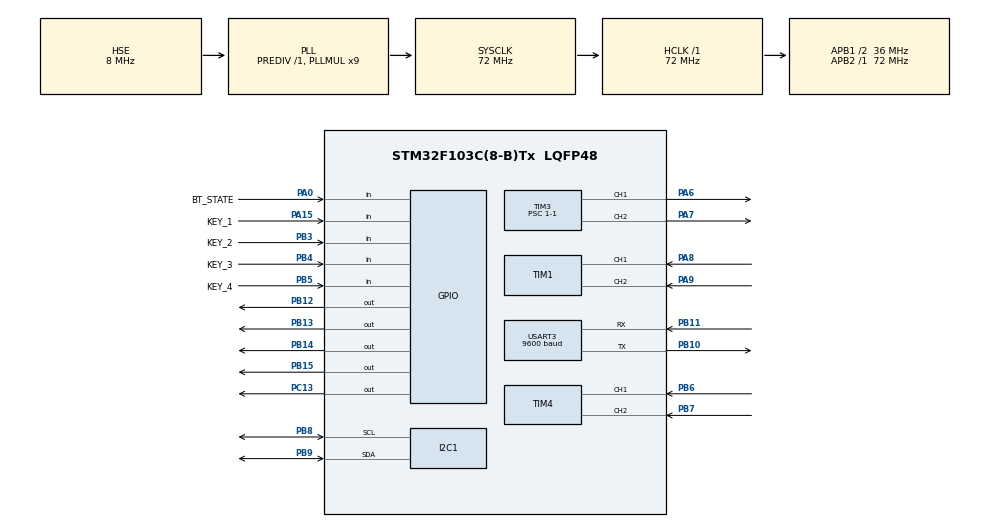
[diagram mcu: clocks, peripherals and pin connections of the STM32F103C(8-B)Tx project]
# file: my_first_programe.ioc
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Dma.Request0=USART3_TX
Dma.USART3_TX.0.Direction=DMA_MEMORY_TO_PERIPH
Dma.USART3_TX.0.Instance=DMA1_Channel2
Dma.USART3_TX.0.MemDataAlignment=DMA_MDATAALIGN_BYTE
Dma.USART3_TX.0.MemInc=DMA_MINC_ENABLE
Dma.USART3_TX.0.Mode=DMA_NORMAL
Dma.USART3_TX.0.PeriphDataAlignment=DMA_PDATAALIGN_BYTE
Dma.USART3_TX.0.PeriphInc=DMA_PINC_DISABLE
Dma.USART3_TX.0.Priority=DMA_PRIORITY_LOW
FREERTOS.Tasks01=defaultTask,24,512,StartDefaultTask,Default,NULL,Dynamic,NULL,NULL;TEST,24,256,StartTask02,Default,NULL,Dynamic,NULL,NULL
FREERTOS.configTOTAL_HEAP_SIZE=6144
I2C1.I2C_Mode=I2C_Fast
Mcu.Family=STM32F1
Mcu.Name=STM32F103C(8-B)Tx
Mcu.Package=LQFP48
NVIC.DMA1_Channel2_IRQn=true\:5\:0\:false\:false\:true\:true\:false\:true\:true
NVIC.PriorityGroup=NVIC_PRIORITYGROUP_4
NVIC.TIM2_IRQn=true\:15\:0\:false\:false\:true\:false\:false\:true\:true
NVIC.TimeBase=TIM2_IRQn
NVIC.TimeBaseIP=TIM2
NVIC.USART3_IRQn=true\:5\:0\:false\:false\:true\:true\:true\:true\:true
PA0-WKUP.GPIO_Label=BT_STATE
PA0-WKUP.GPIO_PuPd=GPIO_PULLDOWN
PA0-WKUP.Signal=GPIO_Input
PA13.Mode=Serial_Wire
PA13.Signal=SYS_JTMS-SWDIO
PA14.Mode=Serial_Wire
PA14.Signal=SYS_JTCK-SWCLK
PA15.GPIO_Label=KEY_1
PA15.GPIO_PuPd=GPIO_PULLUP
PA15.Signal=GPIO_Input
PA6.Signal=S_TIM3_CH1
PA7.Signal=S_TIM3_CH2
PA8.GPIO_PuPd=GPIO_PULLUP
PA8.Signal=S_TIM1_CH1
PA9.GPIO_PuPd=GPIO_PULLUP
PA9.Signal=S_TIM1_CH2
PB10.Mode=Asynchronous
PB10.Signal=USART3_TX
PB11.Mode=Asynchronous
PB11.Signal=USART3_RX
PB12.Signal=GPIO_Output
PB13.Signal=GPIO_Output
PB14.Signal=GPIO_Output
PB15.Signal=GPIO_Output
PB3.GPIO_Label=KEY_2
PB3.GPIO_PuPd=GPIO_PULLUP
PB3.Signal=GPIO_Input
PB4.GPIO_Label=KEY_3
PB4.GPIO_PuPd=GPIO_PULLUP
PB4.Signal=GPIO_Input
PB5.GPIO_Label=KEY_4
PB5.GPIO_PuPd=GPIO_PULLUP
PB5.Signal=GPIO_Input
PB6.GPIO_PuPd=GPIO_PULLUP
PB6.Signal=S_TIM4_CH1
PB7.GPIO_PuPd=GPIO_PULLUP
PB7.Signal=S_TIM4_CH2
PB8.Mode=I2C
PB8.Signal=I2C1_SCL
PB9.Mode=I2C
PB9.Signal=I2C1_SDA
PC13-TAMPER-RTC.PinState=GPIO_PIN_SET
PC13-TAMPER-RTC.Signal=GPIO_Output
PD0-OSC_IN.Mode=HSE-External-Oscillator
PD0-OSC_IN.Signal=RCC_OSC_IN
PD1-OSC_OUT.Mode=HSE-External-Oscillator
PD1-OSC_OUT.Signal=RCC_OSC_OUT
ProjectManager.HeapSize=0x200
ProjectManager.StackSize=0x400
ProjectManager.TargetToolchain=CMake
RCC.AHBFreq_Value=72000000
RCC.APB1CLKDivider=RCC_HCLK_DIV2
RCC.APB1Freq_Value=36000000
RCC.APB1TimFreq_Value=72000000
RCC.APB2Freq_Value=72000000
RCC.APB2TimFreq_Value=72000000
RCC.HCLKFreq_Value=72000000
RCC.PLLMUL=RCC_PLL_MUL9
RCC.PLLSourceVirtual=RCC_PLLSOURCE_HSE
RCC.SYSCLKFreq_VALUE=72000000
RCC.SYSCLKSource=RCC_SYSCLKSOURCE_PLLCLK
RCC.USBFreq_Value=72000000
SH.S_TIM1_CH1.0=TIM1_CH1,Encoder_Interface
SH.S_TIM1_CH2.0=TIM1_CH2,Encoder_Interface
SH.S_TIM3_CH1.0=TIM3_CH1,PWM Generation1 CH1
SH.S_TIM3_CH2.0=TIM3_CH2,PWM Generation2 CH2
SH.S_TIM4_CH1.0=TIM4_CH1,Encoder_Interface
SH.S_TIM4_CH2.0=TIM4_CH2,Encoder_Interface
TIM1.EncoderMode=TIM_ENCODERMODE_TI12
TIM1.IC1Filter=10
TIM1.IC2Filter=10
TIM3.Channel-PWM\ Generation1\ CH1=TIM_CHANNEL_1
TIM3.Channel-PWM\ Generation2\ CH2=TIM_CHANNEL_2
TIM3.Period=7200-1
TIM3.Prescaler=1-1
TIM4.EncoderMode=TIM_ENCODERMODE_TI12
TIM4.IC1Filter=10
USART3.BaudRate=9600
USART3.VirtualMode=VM_ASYNC
VP_FREERTOS_VS_CMSIS_V2.Mode=CMSIS_V2
VP_SYS_VS_tim2.Mode=TIM2
board=custom

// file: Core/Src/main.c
/* USER CODE BEGIN Header */
/**
  ******************************************************************************
  * @file           : main.c
  * @brief          : Main program body
  ******************************************************************************
  * @attention
  *
  * Copyright (c) 2026 STMicroelectronics.
  * All rights reserved.
  *
  * This software is licensed under terms that can be found in the LICENSE file
  * in the root directory of this software component.
  * If no LICENSE file comes with this software, it is provided AS-IS.
  *
  ******************************************************************************
  */
/* USER CODE END Header */
#include "main.h"
#include "cmsis_os.h"
#include "dma.h"
#include "i2c.h"
#include "tim.h"
#include "usart.h"
#include "gpio.h"

/* USER CODE BEGIN Includes */
#include "motor.h"
/* USER CODE END Includes */

void SystemClock_Config(void);
void MX_FREERTOS_Init(void);

int main(void)
{

  /* MCU Configuration--------------------------------------------------------*/

  /* Reset of all peripherals, Initializes the Flash interface and the Systick. */
  HAL_Init();

  /* Configure the system clock */
  SystemClock_Config();

  /* Initialize all configured peripherals */
  MX_GPIO_Init();
  MX_DMA_Init();
  MX_TIM3_Init();
  MX_USART3_UART_Init();
  MX_TIM1_Init();
  MX_I2C1_Init();
  MX_TIM4_Init();

  /* Init scheduler */
  osKernelInitialize();  /* Call init function for freertos objects (in cmsis_os2.c) */
  MX_FREERTOS_Init();

  /* Start scheduler */
  osKernelStart();

  /* We should never get here as control is now taken by the scheduler */

  /* Infinite loop */
  while (1)
  {

  }
}

void SystemClock_Config(void)
{
  RCC_OscInitTypeDef RCC_OscInitStruct = {0};
  RCC_ClkInitTypeDef RCC_ClkInitStruct = {0};

  /** Initializes the RCC Oscillators according to the specified parameters
  * in the RCC_OscInitTypeDef structure.
  */
  RCC_OscInitStruct.OscillatorType = RCC_OSCILLATORTYPE_HSE;
  RCC_OscInitStruct.HSEState = RCC_HSE_ON;
  RCC_OscInitStruct.HSEPredivValue = RCC_HSE_PREDIV_DIV1;
  RCC_OscInitStruct.HSIState = RCC_HSI_ON;
  RCC_OscInitStruct.PLL.PLLState = RCC_PLL_ON;
  RCC_OscInitStruct.PLL.PLLSource = RCC_PLLSOURCE_HSE;
  RCC_OscInitStruct.PLL.PLLMUL = RCC_PLL_MUL9;
  if (HAL_RCC_OscConfig(&RCC_OscInitStruct) != HAL_OK)
  {
    Error_Handler();
  }

  /** Initializes the CPU, AHB and APB buses clocks
  */
  RCC_ClkInitStruct.ClockType = RCC_CLOCKTYPE_HCLK|RCC_CLOCKTYPE_SYSCLK
                              |RCC_CLOCKTYPE_PCLK1|RCC_CLOCKTYPE_PCLK2;
  RCC_ClkInitStruct.SYSCLKSource = RCC_SYSCLKSOURCE_PLLCLK;
  RCC_ClkInitStruct.AHBCLKDivider = RCC_SYSCLK_DIV1;
  RCC_ClkInitStruct.APB1CLKDivider = RCC_HCLK_DIV2;
  RCC_ClkInitStruct.APB2CLKDivider = RCC_HCLK_DIV1;

  if (HAL_RCC_ClockConfig(&RCC_ClkInitStruct, FLASH_LATENCY_2) != HAL_OK)
  {
    Error_Handler();
  }
}

void HAL_TIM_PeriodElapsedCallback(TIM_HandleTypeDef *htim)
{
  if (htim->Instance == TIM2)
  {
    HAL_IncTick();
  }
}

void Error_Handler(void)
{
  __disable_irq();
  while (1)
  {
  }
}

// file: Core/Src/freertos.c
/* USER CODE BEGIN Header */
/**
  ******************************************************************************
  * File Name          : freertos.c
  * Description        : Code for freertos applications
  ******************************************************************************
  * @attention
  *
  * Copyright (c) 2026 STMicroelectronics.
  * All rights reserved.
  *
  * This software is licensed under terms that can be found in the LICENSE file
  * in the root directory of this software component.
  * If no LICENSE file comes with this software, it is provided AS-IS.
  *
  ******************************************************************************
  */
/* USER CODE END Header */

#include "FreeRTOS.h"
#include "task.h"
#include "main.h"
#include "cmsis_os.h"

/* USER CODE BEGIN Includes */
#include "usart.h"
#include "motor.h"
#include "oled.h"
#include "menu.h"
#include <stdio.h>
#include <string.h>
#include "encoder.h"
#include "pid.h"
#include "bt_ctrl.h"
#include "sync.h"
#include "imu.h"
#include "heading.h"

uint8_t g_imu_status;
int16_t g_imu_gz = 0;      /* 陀螺 Z 轴原始值，给 OLED 显示 */
volatile uint8_t g_car_stopped = 0;

/* USER CODE END Includes */

/* USER CODE BEGIN Variables */
volatile uint32_t test_cnt= 0;
uint8_t g_bt_rx_byte;
static volatile uint8_t telem_tx_busy = 0;   /* 遥测中断发送占用标志 */
static uint32_t telem_tx_t0 = 0;             /* 本次发送启动时刻 */
/* USER CODE END Variables */
/* Definitions for defaultTask */
osThreadId_t defaultTaskHandle;
const osThreadAttr_t defaultTask_attributes = {
  .name = "defaultTask",
  .stack_size = 512 * 4,
  .priority = (osPriority_t) osPriorityNormal,
};
/* Definitions for TEST */
osThreadId_t TESTHandle;
const osThreadAttr_t TEST_attributes = {
  .name = "TEST",
  .stack_size = 256 * 4,
  .priority = (osPriority_t) osPriorityNormal,
};

void StartDefaultTask(void *argument);
void StartTask02(void *argument);

void MX_FREERTOS_Init(void); /* (MISRA C 2004 rule 8.1) */

void MX_FREERTOS_Init(void) {

  /* Create the thread(s) */
  /* creation of defaultTask */
  defaultTaskHandle = osThreadNew(StartDefaultTask, NULL, &defaultTask_attributes);

  /* creation of TEST */
  TESTHandle = osThreadNew(StartTask02, NULL, &TEST_attributes);

}

/* USER CODE BEGIN Header_StartDefaultTask */
/**0
/* USER CODE END Header_StartDefaultTask */
void StartDefaultTask(void *argument)
{
  /* USER CODE BEGIN StartDefaultTask */

	motor_init();
	encoder_init();
  motor_stop();
  bt_init();
  heading_init();
  HAL_UART_Receive_IT(&huart3, &g_bt_rx_byte, 1);

  pid_t pid_l, pid_r;

  pid_init(&pid_l, 3.0f, 0.8f, 0.03f, -7200.0f, 7200.0f);
  pid_init(&pid_r, 5.0f, 0.9f, 0.03f, -7200.0f, 7200.0f);
  pid_set_integral_limit(&pid_l, -6000.0f, 6000.0f);
  pid_set_integral_limit(&pid_r, -6000.0f, 6000.0f);

  uint32_t next = osKernelGetTickCount();

  uint8_t stopped_cnt = 0;   /* 连续静止拍数 */

  static char telem_buf[80];
  static uint32_t telem_div = 0;

  for(;;)
  {
    pid_l.kp = g_params[0];
    pid_l.ki = g_params[1];
    pid_l.kd = g_params[2];

    pid_r.kp = g_params[0];
    pid_r.ki = g_params[1];
    pid_r.kd = g_params[2];

    uint32_t now_ms = HAL_GetTick();
    bt_tick(now_ms);

    int16_t  yaw_target;
    uint8_t  have_yaw   = bt_take_yaw(&yaw_target);
    uint8_t  have_drive = bt_take_drive();

    if (have_yaw)
    {
      if(g_imu_status == 0x00)
      {
         heading_start(yaw_target, now_ms);
      }
      else
        heading_cancel();
    }
    else if (have_drive)
    {
    heading_cancel();
    }

    if (bt_link_ok() == 0u)
    {
    heading_cancel();
    }

    heading_update(g_imu_yaw, g_imu_yaw_dps, now_ms);
    float tl;
    float tr;
    if (heading_active())
    {
    tl = (float)heading_left_rpm();
    tr = (float)heading_right_rpm();
    }
    else
    {
    tl = (float)bt_get_left_rpm();
    tr = (float)bt_get_right_rpm();
    }
    float meas_l = encoder_rpm_left();
    float meas_r = encoder_rpm_right();

    float target_l, target_r;
    sync_correct(tl, tr, meas_l, meas_r, &target_l, &target_r);

    uint8_t stopped_now =
    (target_l == 0.0f && target_r == 0.0f &&
     meas_l > -2.0f && meas_l < 2.0f &&
     meas_r > -2.0f && meas_r < 2.0f) ? 1u : 0u; //停止记一次标志

    if (stopped_now)
    {
      if (stopped_cnt < 10u) stopped_cnt++;
    }
    else
    {
      stopped_cnt = 0u;
    }

    g_car_stopped = (stopped_cnt >= 10u) ? 1u : 0u; //总200 ms判停

    float duty_l = pid_calc(&pid_l, target_l, meas_l);
    float duty_r = pid_calc(&pid_r, target_r, meas_r);

    motor_set((int16_t)duty_l, (int16_t)duty_r);

    /* 发送完成回调没回来时兜底：超过 200 ms 就中止，避免遥测永久卡死 */
    if (telem_tx_busy &&
        (uint32_t)(HAL_GetTick() - telem_tx_t0) > 200u)
    {
      HAL_UART_AbortTransmit(&huart3);
      telem_tx_busy = 0;
    }

    /* 遥测：5 Hz 发送。*/
    if (++telem_div >= 10)          /* 20 ms × 10 = 200 ms，给 21 ms 的传输留足时间 */
    {
      telem_div = 0;
      int sign_code = ((HEADING_OUTPUT_SIGN > 0.0f) ? 2 : 0)
                    | ((IMU_YAW_SIGN          > 0.0f) ? 1 : 0);
       if (!telem_tx_busy)
        {
        int n = snprintf(telem_buf, sizeof(telem_buf), "%d,%d,%d,%d,%d,%d,%d,%d,%d,%d\n",
                       (int)(target_l * 10.0f),
                       (int)(target_r * 10.0f),
                       (int)(meas_l * 10.0f),
                       (int)(meas_r * 10.0f),
                       (int)g_imu_yaw,          /* 真实航向角（-180~180） */
                       (int)duty_l,             /* PID 输出，调试用 */
                       (int)duty_r,
                       (int)heading_target_deg(), /* 航向目标角 */
                       (int)heading_state(),     /* 0=IDLE 1=TURN 2=HOLD 3=TIMEOUT */
                       sign_code);                /* bit1=OUTPUT正, bit0=IMU正 */
          telem_tx_busy = 1;
          telem_tx_t0 = HAL_GetTick();
          if (HAL_UART_Transmit_IT(&huart3, (uint8_t *)telem_buf, (uint16_t)n) != HAL_OK)
          {
            telem_tx_busy = 0;
          }
        }
    }

    next += 20;
    osDelayUntil(next);//相隔绝对20ms
	}
  /* USER CODE END StartDefaultTask */
}

void StartTask02(void *argument)
{
  /* USER CODE BEGIN StartTask02 */
  key_init();
  osDelay(50);            /* 等 OLED 上电稳定 */
  OLED_Init();
  menu_init();
  g_imu_status = imu_init();
    if (g_imu_status == 0x00)
  {
    if (imu_calibrate() != 0)
    g_imu_status = 0xFB;
  }
  static uint32_t last_ui = 0;

  static uint32_t  s_imu_tick = 0;

  s_imu_tick = HAL_GetTick();
  /* Infinite loop */
  for(;;)
  {
    uint32_t now = HAL_GetTick();

    if (now - s_imu_tick >= 20)
    {
      uint16_t dt = (uint16_t)(now - s_imu_tick);
      s_imu_tick = now;
      imu_update(dt, g_car_stopped);
    }

    key_event_t e = key_scan();
    if (e != KEY_NONE)
    {
      menu_handle(e);/* 内部改状态 + 重绘 */
      last_ui = HAL_GetTick();
    }
    else if (HAL_GetTick() - last_ui > 200)   /* 5 Hz 自动刷新 */
    {
      last_ui = HAL_GetTick();
      menu_refresh();
    }

    osDelay(10);
  }
  /* USER CODE END StartTask02 */
}

/* USER CODE BEGIN Application */
void HAL_UART_RxCpltCallback(UART_HandleTypeDef *huart)
{
    if (huart->Instance == USART3)
    {
        bt_feed(g_bt_rx_byte, HAL_GetTick());
        HAL_UART_Receive_IT(&huart3, &g_bt_rx_byte, 1);
    }
}

void HAL_UART_TxCpltCallback(UART_HandleTypeDef *huart)
{
    if (huart->Instance == USART3)
    {
        telem_tx_busy = 0;
    }
}
/* USER CODE END Application */
